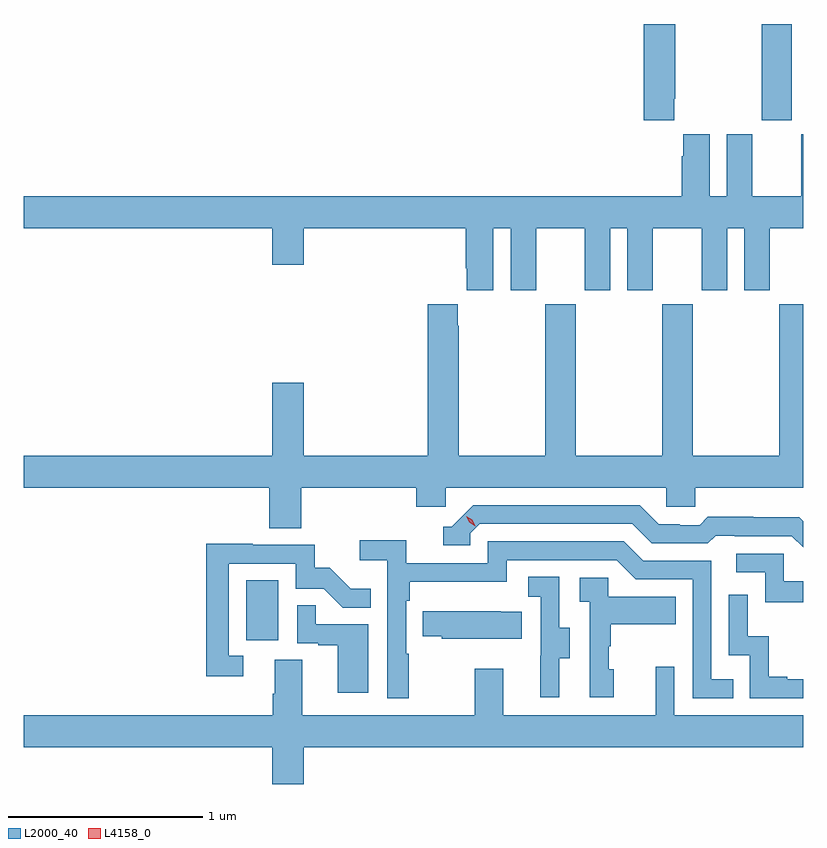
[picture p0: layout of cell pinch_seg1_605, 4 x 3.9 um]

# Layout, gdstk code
import gdstk
lib = gdstk.Library(unit=1e-6, precision=1e-09)
def R(c, l, rs):  # rectangles x0, y0, x1, y1
    for r in rs: c.add(gdstk.rectangle(r[:2], r[2:], *l))
def P(c, l, *ps):  # polygons
    for p in ps: c.add(gdstk.Polygon(p, *l))
L2000_40 = (2000, 40)
L4158_0 = (4158, 0)

pinch_seg1_605 = lib.new_cell('pinch_seg1_605')
R(pinch_seg1_605, L2000_40, [(1141.898,521.645,1142.062,521.953), (1144.543,524.313,1144.698,524.808)])
P(pinch_seg1_605, L2000_40, [(1144.093,524.425),(1144.098,524.425),(1144.098,524.808),(1143.938,524.808),(1143.938,524.313),(1144.093,524.313)],
  [(1143.166,523.76),(1143.254,523.76),(1143.254,523.443),(1143.385,523.443),(1143.385,523.76),(1143.635,523.76),(1143.635,523.443),(1143.766,523.443),(1143.766,523.76),(1143.854,523.76),(1143.854,523.443),(1143.985,523.443),(1143.985,523.76),(1144.235,523.76),(1144.235,523.443),(1144.366,523.443),(1144.366,523.76),(1144.454,523.76),(1144.454,523.443),(1144.585,523.443),(1144.585,523.76),(1144.756,523.76),(1144.756,524.242),(1144.745,524.242),(1144.745,523.924),(1144.495,523.924),(1144.495,524.242),(1144.364,524.242),(1144.364,523.924),(1144.276,523.924),(1144.276,524.242),(1144.139,524.242),(1144.139,524.129),(1144.133,524.129),(1144.133,523.924),(1140.756,523.924),(1140.756,523.76),(1142.03,523.76),(1142.03,523.572),(1142.194,523.572),(1142.194,523.76),(1143.023,523.76),(1143.023,523.555),(1143.029,523.555),(1143.029,523.443),(1143.166,523.443)],
  [(1142.18,522.428),(1142.771,522.428),(1142.771,522.33),(1142.922,522.33),(1142.922,522.428),(1144.053,522.428),(1144.053,522.33),(1144.203,522.33),(1144.203,522.428),(1144.756,522.428),(1144.756,523.371),(1144.633,523.371),(1144.633,522.592),(1144.188,522.592),(1144.188,523.371),(1144.033,523.371),(1144.033,522.592),(1143.588,522.592),(1143.588,523.371),(1143.433,523.371),(1143.433,522.592),(1142.988,522.592),(1142.988,523.259),(1142.983,523.259),(1142.983,523.371),(1142.828,523.371),(1142.828,522.592),(1142.194,522.592),(1142.194,522.967),(1142.03,522.967),(1142.03,522.592),(1140.756,522.592),(1140.756,522.428),(1142.015,522.428),(1142.015,522.22),(1142.18,522.22)],
  [(1144.756,522.257),(1144.736,522.277),(1144.5,522.277),(1144.5,522.28),(1144.267,522.28),(1144.225,522.237),(1144.122,522.237),(1144.122,522.24),(1144.015,522.24),(1143.916,522.339),(1143.063,522.339),(1142.952,522.228),(1142.909,522.228),(1142.909,522.132),(1143.048,522.132),(1143.048,522.195),(1143.096,522.243),(1143.879,522.243),(1143.978,522.144),(1144.267,522.144),(1144.306,522.183),(1144.405,522.183),(1144.405,522.18),(1144.698,522.18),(1144.756,522.122)],
  [(1142.731,521.576),(1142.718,521.576),(1142.718,521.849),(1142.738,521.849),(1142.738,521.945),(1143.234,521.945),(1143.234,522.057),(1143.798,522.057),(1143.897,521.958),(1144.188,521.958),(1144.188,521.349),(1144.397,521.349),(1144.397,521.445),(1144.284,521.445),(1144.284,522.054),(1143.934,522.054),(1143.835,522.153),(1143.138,522.153),(1143.138,522.042),(1142.72,522.042),(1142.72,522.158),(1142.481,522.158),(1142.481,522.056),(1142.622,522.056),(1142.622,521.349),(1142.731,521.349)],
  [(1141.882,521.565),(1141.809,521.565),(1141.809,522.039),(1142.151,522.039),(1142.151,521.91),(1142.295,521.91),(1142.393,521.812),(1142.537,521.812),(1142.537,521.911),(1142.433,521.911),(1142.326,522.018),(1142.25,522.018),(1142.25,522.135),(1141.931,522.135),(1141.931,522.14),(1141.693,522.14),(1141.693,521.46),(1141.882,521.46)],
  [(1144.756,521.949),(1144.656,521.949),(1144.656,522.09),(1144.413,522.09),(1144.413,521.994),(1144.56,521.994),(1144.56,521.841),(1144.756,521.841)],
  [(1143.505,521.554),(1143.559,521.554),(1143.559,521.709),(1143.504,521.709),(1143.504,521.972),(1143.345,521.972),(1143.345,521.869),(1143.408,521.869),(1143.408,521.565),(1143.407,521.565),(1143.407,521.352),(1143.505,521.352)],
  [(1143.784,521.496),(1143.759,521.496),(1143.759,521.615),(1143.769,521.615),(1143.769,521.729),(1144.103,521.729),(1144.103,521.869),(1143.756,521.869),(1143.756,521.967),(1143.609,521.967),(1143.609,521.843),(1143.66,521.843),(1143.66,521.352),(1143.784,521.352)],
  [(1144.756,521.445),(1144.675,521.445),(1144.675,521.458),(1144.58,521.458),(1144.58,521.666),(1144.47,521.666),(1144.47,521.878),(1144.374,521.878),(1144.374,521.568),(1144.482,521.568),(1144.482,521.349),(1144.756,521.349)],
  [(1142.524,521.727),(1142.255,521.727),(1142.255,521.825),(1142.16,521.825),(1142.16,521.631),(1142.267,521.631),(1142.267,521.619),(1142.366,521.619),(1142.366,521.376),(1142.524,521.376)],
  [(1143.311,521.791),(1143.203,521.791),(1143.203,521.794),(1142.803,521.794),(1142.803,521.665),(1142.901,521.665),(1142.901,521.654),(1143.311,521.654)],
  [(1142.194,521.096),(1144.756,521.096),(1144.756,521.26),(1144.095,521.26),(1144.095,521.509),(1143.998,521.509),(1143.998,521.26),(1143.217,521.26),(1143.217,521.5),(1143.07,521.5),(1143.07,521.26),(1142.185,521.26),(1142.185,521.546),(1142.045,521.546),(1142.045,521.372),(1142.033,521.372),(1142.033,521.26),(1140.756,521.26),(1140.756,521.096),(1142.03,521.096),(1142.03,520.908),(1142.194,520.908)])
P(pinch_seg1_605, L4158_0, [(1143.073,522.23),(1143.043,522.25),(1143.027,522.282),(1143.027,522.283),(1143.027,522.283),(1143.058,522.263),(1143.073,522.231),(1143.073,522.23)])

lib.write_gds('pinch_seg1_605.gds')
